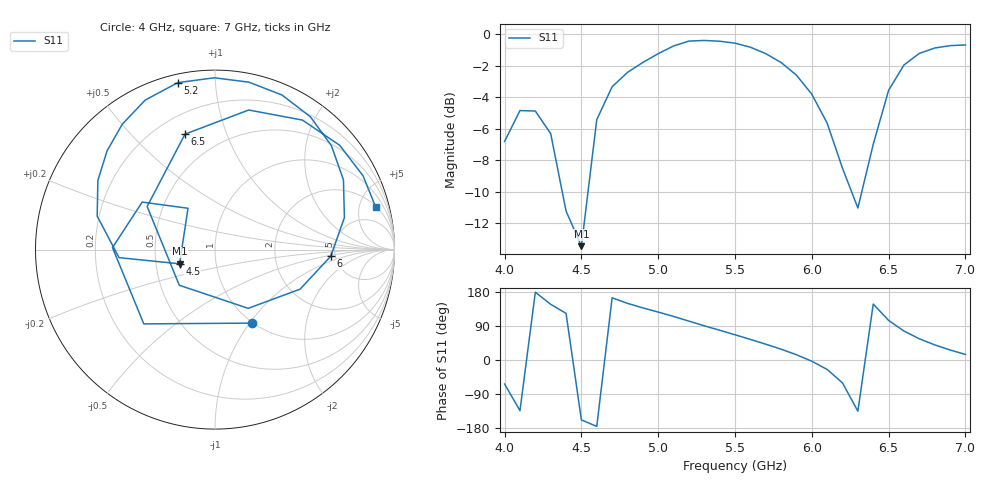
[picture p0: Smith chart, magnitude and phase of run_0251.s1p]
! Touchstone file exported from HFSS 2024.2.0
!  File:  C:/Users/wsak9/Desktop/Sim Fast/Widenad Patch/WP_AI_V1_sweep.aedt
!  Generated:  01:33:56 AM Oct 14, 2026
!  Design:  A1_model
!  Project:  WP_AI_V1_sweep
!  Setup:  Setup1
!  Solution:  Sweep
! Variables:
!  Air_gap = 1.73mm
!  Curve_Amp1 = 3.25
!  Curve_len1 = 1
!  Curve_pos = 12.82mm
!  Extra = 5.2mm
!  H_sub = 0.79mm
!  L_Patch = 21.64mm
!  L_Patch1 = 21.81mm
!  Sx = 4.29mm
!  Sy = 4.96mm
!  WS = 0.23mm
!  W_Patch = 12.61mm
!  W_Patch1 = 16.61mm
!Data is not renormalized
# GHz S MA
! Terminal data exported
! Port[1] = 1
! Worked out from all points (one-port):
!   31 points, 4 GHz to 7 GHz, reference per port
!   lowest |S11| = -13.4 dB at 4.5 GHz (marker M1), VSWR 1.54
!   |S11| at or under -10 dB: 4.375 GHz to 4.543 GHz (167.6 MHz wide, 3.76 % of centre); 6.259 GHz to 6.325 GHz (65.8 MHz wide, 1.05 % of centre)
!   S11 on the Smith chart (normalised r, x): 4 GHz: 0.99, -1.02; 4.5 GHz: 0.66, -0.11; 5.2 GHz: 0.04, +0.80; 6 GHz: 4.58, -0.57; 6.5 GHz: 0.31, +0.72; 7 GHz: 2.14, +7.10
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4  0.4576 -63.5
4.1  0.5733 -133.8
4.2  0.5713 178.9
4.3  0.4843 146.9
4.4  0.275 123.1
4.5  0.2126 -158.2
4.6  0.5364 -175.2
4.7  0.6823 164.1
4.8  0.7578 149.4
5  0.869 126.5
5.1  0.9195 115.0
5.2  0.9529 102.6
5.3  0.9573 90.3
5.5  0.9386 66.6
5.7  0.8695 41.8
5.8  0.8146 28.6
5.9  0.7428 13.9
6  0.6462 -3.2
6.1  0.5227 -25.0
6.2  0.3759 -60.5
6.3  0.2811 -135.1
6.4  0.4478 147.6
6.5  0.6647 104.5
6.6  0.8001 76.4
6.7  0.8707 56.0
6.8  0.9058 39.9
6.9  0.9217 26.5
7  0.9262 14.7
